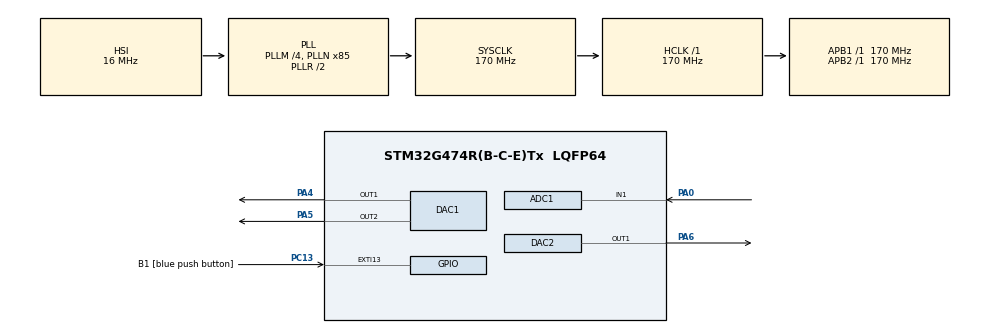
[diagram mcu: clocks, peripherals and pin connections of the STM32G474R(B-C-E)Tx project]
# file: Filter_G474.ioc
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ADC1.Channel-0\#ChannelRegularConversion=ADC_CHANNEL_1
ADC1.ExternalTrigConv=ADC_EXTERNALTRIG_T2_TRGO
ADC1.NbrOfConversionFlag=1
ADC1.OffsetNumber-0\#ChannelRegularConversion=ADC_OFFSET_NONE
ADC1.Rank-0\#ChannelRegularConversion=1
ADC1.SamplingTime-0\#ChannelRegularConversion=ADC_SAMPLETIME_2CYCLES_5
ADC1.master=1
DAC1.DAC_Channel-DAC_OUT2=DAC_CHANNEL_2
Mcu.Family=STM32G4
Mcu.Name=STM32G474R(B-C-E)Tx
Mcu.Package=LQFP64
NVIC.ADC1_2_IRQn=true\:0\:0\:false\:false\:true\:true\:true\:true
NVIC.EXTI15_10_IRQn=true\:0\:0\:false\:false\:true\:true\:true\:true
NVIC.PriorityGroup=NVIC_PRIORITYGROUP_4
NVIC.TIM2_IRQn=true\:0\:0\:false\:false\:true\:true\:true\:true
NVIC.TIM6_DAC_IRQn=true\:0\:0\:false\:false\:true\:true\:true\:true
PA0.Mode=IN1-Single-Ended
PA0.Signal=ADC1_IN1
PA13.GPIO_Label=T_SWDIO
PA13.Signal=SYS_JTMS-SWDIO
PA14.GPIO_Label=T_SWCLK
PA14.Signal=SYS_JTCK-SWCLK
PA4.Signal=COMP_DAC11_group
PA5.Signal=COMP_DAC12_group
PA6.Signal=COMP_DAC21_group
PB3.GPIO_Label=T_SWO
PB3.Signal=SYS_JTDO-SWO
PC13.GPIO_Label=B1 [blue push button]
PC13.Signal=GPXTI13
PC14-OSC32_IN.GPIO_Label=RCC_OSC32_IN
PC14-OSC32_IN.Signal=RCC_OSC32_IN
PC15-OSC32_OUT.GPIO_Label=RCC_OSC32_OUT
PC15-OSC32_OUT.Signal=RCC_OSC32_OUT
PF0-OSC_IN.GPIO_Label=RCC_OSC_IN
PF0-OSC_IN.Signal=RCC_OSC_IN
PF1-OSC_OUT.GPIO_Label=RCC_OSC_OUT
PF1-OSC_OUT.Signal=RCC_OSC_OUT
ProjectManager.HeapSize=0x200
ProjectManager.StackSize=0x400
ProjectManager.TargetToolchain=STM32CubeIDE
RCC.ADC12Freq_Value=170000000
RCC.ADC345Freq_Value=170000000
RCC.AHBFreq_Value=170000000
RCC.APB1Freq_Value=170000000
RCC.APB1TimFreq_Value=170000000
RCC.APB2Freq_Value=170000000
RCC.APB2TimFreq_Value=170000000
RCC.CortexFreq_Value=170000000
RCC.EXTERNAL_CLOCK_VALUE=12288000
RCC.HCLKFreq_Value=170000000
RCC.HSE_VALUE=24000000
RCC.HSI48_VALUE=48000000
RCC.HSI_VALUE=16000000
RCC.LSE_VALUE=32768
RCC.PLLM=RCC_PLLM_DIV4
RCC.PLLN=85
RCC.RTCClockSelection=RCC_RTCCLKSOURCE_LSE
RCC.SYSCLKFreq_VALUE=170000000
RCC.SYSCLKSource=RCC_SYSCLKSOURCE_PLLCLK
RCC.USBFreq_Value=170000000
RCC.VCOOutputFreq_Value=340000000
SH.COMP_DAC11_group.0=DAC1_OUT1,DAC_OUT1
SH.COMP_DAC12_group.0=DAC1_OUT2,DAC_OUT2
SH.COMP_DAC21_group.0=DAC2_OUT1,DAC_OUT1
TIM2.PeriodNoDither=99
TIM2.Prescaler=169
TIM2.TIM_MasterOutputTrigger=TIM_TRGO_UPDATE
VP_SYS_VS_DBSignals.Mode=DisableDeadBatterySignals
VP_TIM2_VS_ClockSourceINT.Mode=Internal
board=NUCLEO-G474RE

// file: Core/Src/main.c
/* USER CODE BEGIN Header */
/**
  ******************************************************************************
  * @file           : main.c
  * @brief          : Main program body
  ******************************************************************************
  * @attention
  *
  * Copyright (c) 2025 STMicroelectronics.
  * All rights reserved.
  *
  * This software is licensed under terms that can be found in the LICENSE file
  * in the root directory of this software component.
  * If no LICENSE file comes with this software, it is provided AS-IS.
  *
  ******************************************************************************
  */
/* USER CODE END Header */
#include "main.h"

ADC_HandleTypeDef hadc1;

DAC_HandleTypeDef hdac1;
DAC_HandleTypeDef hdac2;

TIM_HandleTypeDef htim2;

/* USER CODE BEGIN PV */

// --- 1차 LPF 계수 (fs=10000, f_cutoff=100) ---
// num_LPF_z_100 = [0.0304687..., 0.0304687...]
// den_LPF_z_100 = [1.0, -0.939062...]
const float LPF_B0 = 0.030468747f;
const float LPF_B1 = 0.030468747f;
const float LPF_A1 = -0.939062506f;
const float APF_ALPHA = 0.93906f;

// LPF 상태 변수 (이전 값을 저장)
static float lpf_x_prev = 0.0f;
static float lpf_y_prev = 0.0f;

// --- 1차 HPF 계수 (fs=10000, f_cutoff=100) ---
// num_HPF_z_100 = [0.969531..., -0.969531...]
// den_HPF_z_100 = [1.0, -0.939062...]
const float HPF_B0 = 0.969531253f;
const float HPF_B1 = -0.969531253f;
const float HPF_A1 = -0.939062506f;

// HPF 상태 변수 (이전 값을 저장)
static float hpf_x_prev = 0.0f;
static float hpf_y_prev = 0.0f;

static float apf_x_prev = 0.0f;
static float apf_y_prev = 0.0f;

/* USER CODE END PV */

void SystemClock_Config(void);
static void MX_GPIO_Init(void);
static void MX_ADC1_Init(void);
static void MX_TIM2_Init(void);
static void MX_DAC1_Init(void);
static void MX_DAC2_Init(void);
/* USER CODE BEGIN PFP */

// 1차 LPF 필터 적용 함수 (알고리즘은 동일)
float apply_lpf(float x_now)
{
    // 차분 방정식: y(n) = b0*x(n) + b1*x(n-1) - a1*y(n-1)
    float y_now = (LPF_B0 * x_now) + (LPF_B1 * lpf_x_prev) - (LPF_A1 * lpf_y_prev);

    // 다음 계산을 위해 현재 값을 이전 값으로 업데이트
    lpf_x_prev = x_now;
    lpf_y_prev = y_now;

    return y_now;
}

// 1차 HPF 필터 적용 함수 (알고리즘은 동일)
float apply_hpf(float x_now)
{
    float y_now = (HPF_B0 * x_now) + (HPF_B1 * hpf_x_prev) - (HPF_A1 * hpf_y_prev);

    hpf_x_prev = x_now;
    hpf_y_prev = y_now;

    return y_now;
}

float apply_apf(float x_now)
{
    // 수식: y[n] = 0.7*x[n] + x[n-1] - 0.7*y[n-1]
    float y_now = (APF_ALPHA * x_now) - apf_x_prev + (APF_ALPHA * apf_y_prev);

    // 상태 업데이트
    apf_x_prev = x_now;
    apf_y_prev = y_now;

    return y_now;
}

void HAL_ADC_ConvCpltCallback(ADC_HandleTypeDef* hadc)
{
  if(hadc->Instance == ADC1)
  {
    // 1. ADC 값 읽기 (0 ~ 4095)
    float input_val = (float)HAL_ADC_GetValue(&hadc1);

    // 2. 필터 적용 (둘 중 하나 선택)
    float lpf_output_val = apply_lpf(input_val);

    // --- HPF를 사용하려면 아래 3줄의 주석을 해제하고 위 1줄을 주석 처리 ---
    float ac_input = input_val - 2048.0f; // DC 오프셋 제거

    float hpf_output = apply_hpf(ac_input);
    float hpf_output_val = hpf_output + 2048.0f; // DC 오프셋 복원

    float apf_output = apply_apf(ac_input);
    float apf_output_val = apf_output + 2048.0f; // DC 오프셋 복원

    // 3. DAC로 값 출력 (0~4095 범위 클리핑)
    if (lpf_output_val < 0.0f) lpf_output_val = 0.0f;
    if (lpf_output_val > 4095.0f) lpf_output_val = 4095.0f;

    if (hpf_output_val < 0.0f) hpf_output_val = 0.0f;
    if (hpf_output_val > 4095.0f) hpf_output_val = 4095.0f;

    if (apf_output_val < 0.0f) apf_output_val = 0.0f;
    if (apf_output_val > 4095.0f) apf_output_val = 4095.0f;

    HAL_DAC_SetValue(&hdac1, DAC_CHANNEL_1, DAC_ALIGN_12B_R, (uint32_t)lpf_output_val);
    HAL_DAC_SetValue(&hdac1, DAC_CHANNEL_2, DAC_ALIGN_12B_R, (uint32_t)hpf_output_val);
    HAL_DAC_SetValue(&hdac2, DAC_CHANNEL_1, DAC_ALIGN_12B_R, (uint32_t)apf_output_val);
  }
}

/* USER CODE END PFP */

int main(void)
{

  /* MCU Configuration--------------------------------------------------------*/

  /* Reset of all peripherals, Initializes the Flash interface and the Systick. */
  HAL_Init();

  /* Configure the system clock */
  SystemClock_Config();

  /* Initialize all configured peripherals */
  MX_GPIO_Init();
  MX_ADC1_Init();
  MX_TIM2_Init();
  MX_DAC1_Init();
  MX_DAC2_Init();
  /* USER CODE BEGIN 2 */

  // 1. DAC 시작
  HAL_DAC_Start(&hdac1, DAC_CHANNEL_1); // LPF
  HAL_DAC_Start(&hdac1, DAC_CHANNEL_2); // HPF
  HAL_DAC_Start(&hdac2, DAC_CHANNEL_1); // APF

    // 2. ADC 트리거용 타이머(100µs 주기) 시작
  HAL_TIM_Base_Start(&htim2);

    // 3. ADC를 인터럽트 모드로 시작 (타이머가 트리거)
  HAL_ADC_Start_IT(&hadc1);

  /* USER CODE END 2 */

  /* Infinite loop */
  while (1)
  {

  }
}

void SystemClock_Config(void)
{
  RCC_OscInitTypeDef RCC_OscInitStruct = {0};
  RCC_ClkInitTypeDef RCC_ClkInitStruct = {0};

  /** Configure the main internal regulator output voltage
  */
  HAL_PWREx_ControlVoltageScaling(PWR_REGULATOR_VOLTAGE_SCALE1_BOOST);

  /** Initializes the RCC Oscillators according to the specified parameters
  * in the RCC_OscInitTypeDef structure.
  */
  RCC_OscInitStruct.OscillatorType = RCC_OSCILLATORTYPE_HSI;
  RCC_OscInitStruct.HSIState = RCC_HSI_ON;
  RCC_OscInitStruct.HSICalibrationValue = RCC_HSICALIBRATION_DEFAULT;
  RCC_OscInitStruct.PLL.PLLState = RCC_PLL_ON;
  RCC_OscInitStruct.PLL.PLLSource = RCC_PLLSOURCE_HSI;
  RCC_OscInitStruct.PLL.PLLM = RCC_PLLM_DIV4;
  RCC_OscInitStruct.PLL.PLLN = 85;
  RCC_OscInitStruct.PLL.PLLP = RCC_PLLP_DIV2;
  RCC_OscInitStruct.PLL.PLLQ = RCC_PLLQ_DIV2;
  RCC_OscInitStruct.PLL.PLLR = RCC_PLLR_DIV2;
  if (HAL_RCC_OscConfig(&RCC_OscInitStruct) != HAL_OK)
  {
    Error_Handler();
  }

  /** Initializes the CPU, AHB and APB buses clocks
  */
  RCC_ClkInitStruct.ClockType = RCC_CLOCKTYPE_HCLK|RCC_CLOCKTYPE_SYSCLK
                              |RCC_CLOCKTYPE_PCLK1|RCC_CLOCKTYPE_PCLK2;
  RCC_ClkInitStruct.SYSCLKSource = RCC_SYSCLKSOURCE_PLLCLK;
  RCC_ClkInitStruct.AHBCLKDivider = RCC_SYSCLK_DIV1;
  RCC_ClkInitStruct.APB1CLKDivider = RCC_HCLK_DIV1;
  RCC_ClkInitStruct.APB2CLKDivider = RCC_HCLK_DIV1;

  if (HAL_RCC_ClockConfig(&RCC_ClkInitStruct, FLASH_LATENCY_4) != HAL_OK)
  {
    Error_Handler();
  }
}

static void MX_ADC1_Init(void)
{

  ADC_MultiModeTypeDef multimode = {0};
  ADC_ChannelConfTypeDef sConfig = {0};

  /** Common config
  */
  hadc1.Instance = ADC1;
  hadc1.Init.ClockPrescaler = ADC_CLOCK_SYNC_PCLK_DIV4;
  hadc1.Init.Resolution = ADC_RESOLUTION_12B;
  hadc1.Init.DataAlign = ADC_DATAALIGN_RIGHT;
  hadc1.Init.GainCompensation = 0;
  hadc1.Init.ScanConvMode = ADC_SCAN_DISABLE;
  hadc1.Init.EOCSelection = ADC_EOC_SINGLE_CONV;
  hadc1.Init.LowPowerAutoWait = DISABLE;
  hadc1.Init.ContinuousConvMode = DISABLE;
  hadc1.Init.NbrOfConversion = 1;
  hadc1.Init.DiscontinuousConvMode = DISABLE;
  hadc1.Init.ExternalTrigConv = ADC_EXTERNALTRIG_T2_TRGO;
  hadc1.Init.ExternalTrigConvEdge = ADC_EXTERNALTRIGCONVEDGE_RISING;
  hadc1.Init.DMAContinuousRequests = DISABLE;
  hadc1.Init.Overrun = ADC_OVR_DATA_PRESERVED;
  hadc1.Init.OversamplingMode = DISABLE;
  if (HAL_ADC_Init(&hadc1) != HAL_OK)
  {
    Error_Handler();
  }

  /** Configure the ADC multi-mode
  */
  multimode.Mode = ADC_MODE_INDEPENDENT;
  if (HAL_ADCEx_MultiModeConfigChannel(&hadc1, &multimode) != HAL_OK)
  {
    Error_Handler();
  }

  /** Configure Regular Channel
  */
  sConfig.Channel = ADC_CHANNEL_1;
  sConfig.Rank = ADC_REGULAR_RANK_1;
  sConfig.SamplingTime = ADC_SAMPLETIME_2CYCLES_5;
  sConfig.SingleDiff = ADC_SINGLE_ENDED;
  sConfig.OffsetNumber = ADC_OFFSET_NONE;
  sConfig.Offset = 0;
  if (HAL_ADC_ConfigChannel(&hadc1, &sConfig) != HAL_OK)
  {
    Error_Handler();
  }

}

static void MX_DAC1_Init(void)
{

  DAC_ChannelConfTypeDef sConfig = {0};

  /** DAC Initialization
  */
  hdac1.Instance = DAC1;
  if (HAL_DAC_Init(&hdac1) != HAL_OK)
  {
    Error_Handler();
  }

  /** DAC channel OUT1 config
  */
  sConfig.DAC_HighFrequency = DAC_HIGH_FREQUENCY_INTERFACE_MODE_AUTOMATIC;
  sConfig.DAC_DMADoubleDataMode = DISABLE;
  sConfig.DAC_SignedFormat = DISABLE;
  sConfig.DAC_SampleAndHold = DAC_SAMPLEANDHOLD_DISABLE;
  sConfig.DAC_Trigger = DAC_TRIGGER_NONE;
  sConfig.DAC_Trigger2 = DAC_TRIGGER_NONE;
  sConfig.DAC_OutputBuffer = DAC_OUTPUTBUFFER_ENABLE;
  sConfig.DAC_ConnectOnChipPeripheral = DAC_CHIPCONNECT_EXTERNAL;
  sConfig.DAC_UserTrimming = DAC_TRIMMING_FACTORY;
  if (HAL_DAC_ConfigChannel(&hdac1, &sConfig, DAC_CHANNEL_1) != HAL_OK)
  {
    Error_Handler();
  }

  /** DAC channel OUT2 config
  */
  if (HAL_DAC_ConfigChannel(&hdac1, &sConfig, DAC_CHANNEL_2) != HAL_OK)
  {
    Error_Handler();
  }

}

static void MX_DAC2_Init(void)
{

  DAC_ChannelConfTypeDef sConfig = {0};

  /** DAC Initialization
  */
  hdac2.Instance = DAC2;
  if (HAL_DAC_Init(&hdac2) != HAL_OK)
  {
    Error_Handler();
  }

  /** DAC channel OUT1 config
  */
  sConfig.DAC_HighFrequency = DAC_HIGH_FREQUENCY_INTERFACE_MODE_AUTOMATIC;
  sConfig.DAC_DMADoubleDataMode = DISABLE;
  sConfig.DAC_SignedFormat = DISABLE;
  sConfig.DAC_SampleAndHold = DAC_SAMPLEANDHOLD_DISABLE;
  sConfig.DAC_Trigger = DAC_TRIGGER_NONE;
  sConfig.DAC_Trigger2 = DAC_TRIGGER_NONE;
  sConfig.DAC_OutputBuffer = DAC_OUTPUTBUFFER_ENABLE;
  sConfig.DAC_ConnectOnChipPeripheral = DAC_CHIPCONNECT_EXTERNAL;
  sConfig.DAC_UserTrimming = DAC_TRIMMING_FACTORY;
  if (HAL_DAC_ConfigChannel(&hdac2, &sConfig, DAC_CHANNEL_1) != HAL_OK)
  {
    Error_Handler();
  }

}

static void MX_TIM2_Init(void)
{

  TIM_ClockConfigTypeDef sClockSourceConfig = {0};
  TIM_MasterConfigTypeDef sMasterConfig = {0};

  htim2.Instance = TIM2;
  htim2.Init.Prescaler = 169;
  htim2.Init.CounterMode = TIM_COUNTERMODE_UP;
  htim2.Init.Period = 99;
  htim2.Init.ClockDivision = TIM_CLOCKDIVISION_DIV1;
  htim2.Init.AutoReloadPreload = TIM_AUTORELOAD_PRELOAD_DISABLE;
  if (HAL_TIM_Base_Init(&htim2) != HAL_OK)
  {
    Error_Handler();
  }
  sClockSourceConfig.ClockSource = TIM_CLOCKSOURCE_INTERNAL;
  if (HAL_TIM_ConfigClockSource(&htim2, &sClockSourceConfig) != HAL_OK)
  {
    Error_Handler();
  }
  sMasterConfig.MasterOutputTrigger = TIM_TRGO_UPDATE;
  sMasterConfig.MasterSlaveMode = TIM_MASTERSLAVEMODE_DISABLE;
  if (HAL_TIMEx_MasterConfigSynchronization(&htim2, &sMasterConfig) != HAL_OK)
  {
    Error_Handler();
  }

}

static void MX_GPIO_Init(void)
{
  GPIO_InitTypeDef GPIO_InitStruct = {0};

  /* GPIO Ports Clock Enable */
  __HAL_RCC_GPIOC_CLK_ENABLE();
  __HAL_RCC_GPIOF_CLK_ENABLE();
  __HAL_RCC_GPIOA_CLK_ENABLE();
  __HAL_RCC_GPIOB_CLK_ENABLE();

  /*Configure GPIO pin : B1_Pin */
  GPIO_InitStruct.Pin = B1_Pin;
  GPIO_InitStruct.Mode = GPIO_MODE_IT_RISING;
  GPIO_InitStruct.Pull = GPIO_NOPULL;
  HAL_GPIO_Init(B1_GPIO_Port, &GPIO_InitStruct);

  /* EXTI interrupt init*/
  HAL_NVIC_SetPriority(EXTI15_10_IRQn, 0, 0);
  HAL_NVIC_EnableIRQ(EXTI15_10_IRQn);

}

void Error_Handler(void)
{
  __disable_irq();
  while (1)
  {
  }
}
